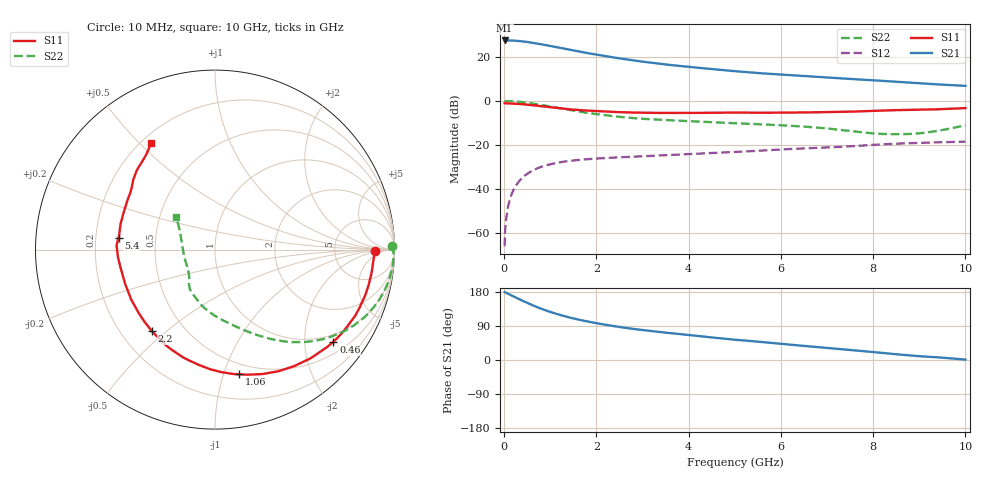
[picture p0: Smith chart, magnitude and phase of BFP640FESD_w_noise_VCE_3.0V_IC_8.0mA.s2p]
! Infineon Technologies  Discrete & RF Semiconductors
! BFP640FESD
! VCE =  3.0 V,  IC =  8.0 mA
! Common Emitter S-Parameters:  Jan 2016
# GHz  S  MA  R  50
!  f  S11  S21  S12  S22
! GHz  MAG  ANG  MAG  ANG  MAG  ANG  MAG  ANG
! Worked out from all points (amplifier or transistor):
!   233 points, 10 MHz to 10 GHz, reference 50 ohm
!   highest |S21| = 27.5 dB at 10 MHz (marker M1)
!   |S21| within 3 dB of that: start of sweep to 1.126 GHz
!   unconditionally stable (mu >= 1): 5.321 GHz to end of sweep
!   at 200 MHz: K = 0.04, MSG = 34.0 dB, |S12| = -40.5 dB
!   at 1.74 GHz: K = 0.41, MSG = 24.3 dB, |S12| = -26.6 dB
!   at 10 GHz: K = 1.15, MAG = 10.4 dB, |S12| = -18.5 dB
!   lowest NFmin = 0.62 dB at 450 MHz
!   S11 on the Smith chart (normalised r, x): 10 MHz: 18, -2; 460 MHz: 0.79, -2.71; 1.06 GHz: 0.41, -1.13; 2.2 GHz: 0.33, -0.45; 5.4 GHz: 0.30, +0.06; 10 GHz: 0.24, +0.54
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0.01  0.8934 -0.6  23.82 179.3  0.0005 57.7  0.984 1.2
0.025  0.8878 -2.0  23.72 178.3  0.0013 83.7  0.9949 -1.2
0.07  0.8829 -5.8  23.71 175.7  0.0033 84.1  0.9946 -3.4
0.2  0.875 -16.9  23.65 168.1  0.0094 80.6  0.9833 -10.1
0.32  0.8597 -26.7  23.14 160.8  0.0148 75.7  0.9611 -16.0
0.46  0.8357 -37.9  22.29 152.8  0.0206 70.2  0.926 -22.5
0.6  0.8067 -48.6  21.26 145.1  0.0257 65.0  0.8826 -28.5
0.7  0.7846 -55.9  20.46 140.2  0.0289 61.8  0.8498 -32.5
0.9  0.7419 -69.2  18.73 131.0  0.0343 55.9  0.7816 -39.7
1.06  0.7081 -78.9  17.4 124.6  0.0377 52.1  0.7283 -44.8
1.4  0.6511 -97.3  14.79 112.6  0.0432 45.6  0.6273 -54.2
1.68  0.6169 -109.6  13.02 104.7  0.0463 42.1  0.562 -60.5
1.9  0.5969 -118.0  11.82 99.4  0.0483 40.1  0.5202 -65.0
2.2  0.5744 -127.8  10.45 92.9  0.0505 38.1  0.4743 -70.5
2.74  0.5483 -143.2  8.561 83.0  0.0539 36.0  0.4134 -80.0
3.4  0.5358 -157.3  6.972 73.6  0.0576 35.3  0.3736 -88.8
4  0.5354 -167.8  5.972 65.8  0.0618 35.6  0.3501 -94.6
5.1  0.5467 176.4  4.679 52.6  0.07 35.2  0.3092 -106.4
5.4  0.5414 172.9  4.405 49.5  0.0729 35.9  0.3006 -108.4
6.8  0.5546 153.5  3.523 33.9  0.086 33.1  0.2475 -125.4
8.4  0.6164 135.5  2.783 16.3  0.106 29.2  0.1761 -161.8
10  0.6909 121.0  2.209 1.0  0.1189 21.0  0.2798 140.1
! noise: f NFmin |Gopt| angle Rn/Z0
0.45  0.62  0.3  5  0.11
2.4  0.72  0.16  61  0.1
5.5  0.97  0.33  156  0.07
10  1.69  0.47  -119  0.24
